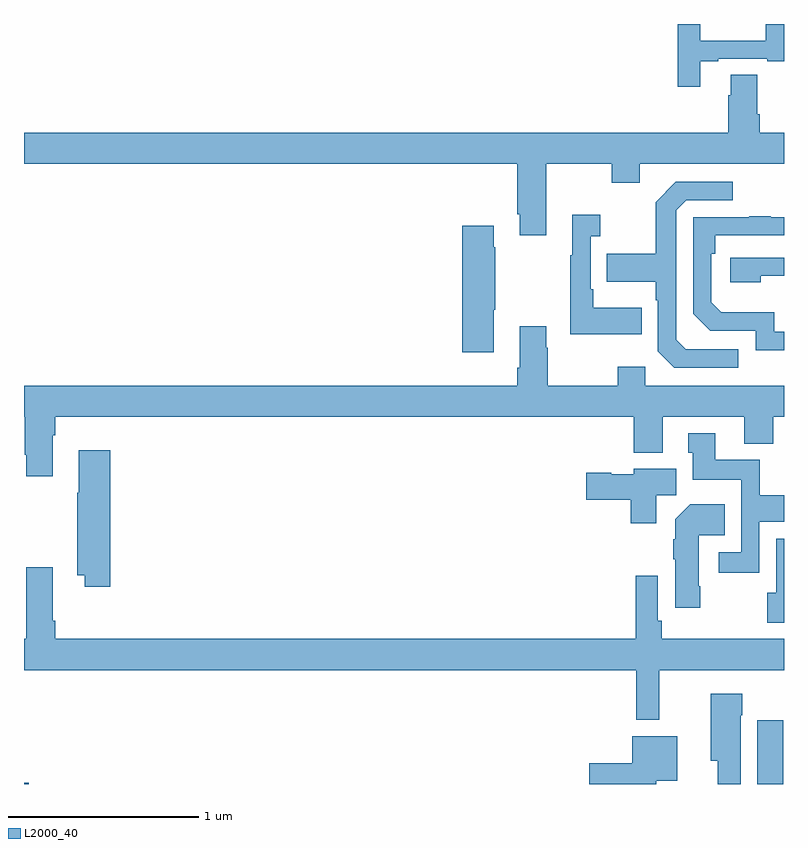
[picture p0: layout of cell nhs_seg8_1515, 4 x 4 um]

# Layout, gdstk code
import gdstk
lib = gdstk.Library(unit=1e-6, precision=1e-09)
def R(c, l, rs):  # rectangles x0, y0, x1, y1
    for r in rs: c.add(gdstk.rectangle(r[:2], r[2:], *l))
def P(c, l, *ps):  # polygons
    for p in ps: c.add(gdstk.Polygon(p, *l))
L2000_40 = (2000, 40)

nhs_seg8_1515 = lib.new_cell('nhs_seg8_1515')
R(nhs_seg8_1515, L2000_40, [(207,1115.9,207.025,1115.906), (210.86,1115.9,210.997,1116.235)])
P(nhs_seg8_1515, L2000_40, [(210.559,1119.705),(210.655,1119.705),(210.655,1119.717),(210.911,1119.717),(210.911,1119.705),(211,1119.705),(211,1119.9),(210.905,1119.9),(210.905,1119.813),(210.558,1119.813),(210.558,1119.9),(210.442,1119.9),(210.442,1119.57),(210.559,1119.57)],
  [(209.749,1119.164),(210.094,1119.164),(210.094,1119.065),(210.241,1119.065),(210.241,1119.164),(211,1119.164),(211,1119.328),(210.872,1119.328),(210.872,1119.424),(210.859,1119.424),(210.859,1119.632),(210.719,1119.632),(210.719,1119.524),(210.707,1119.524),(210.707,1119.328),(207,1119.328),(207,1119.164),(209.597,1119.164),(209.597,1118.899),(209.609,1118.899),(209.609,1118.787),(209.749,1118.787)],
  [(210.76,1118.187),(210.483,1118.187),(210.432,1118.238),(210.432,1118.919),(210.486,1118.973),(210.73,1118.973),(210.73,1119.069),(210.429,1119.069),(210.324,1118.963),(210.324,1118.691),(210.067,1118.691),(210.067,1118.543),(210.324,1118.543),(210.324,1118.447),(210.336,1118.447),(210.336,1118.178),(210.423,1118.091),(210.76,1118.091)],
  [(210.251,1118.407),(209.995,1118.407),(209.995,1118.503),(209.982,1118.503),(209.982,1118.783),(210.034,1118.783),(210.034,1118.896),(209.885,1118.896),(209.885,1118.683),(209.874,1118.683),(209.874,1118.267),(210.251,1118.267)],
  [(211,1118.28),(210.948,1118.28),(210.948,1118.383),(210.671,1118.383),(210.618,1118.436),(210.618,1118.69),(210.638,1118.69),(210.638,1118.787),(211,1118.787),(211,1118.883),(210.929,1118.883),(210.929,1118.888),(210.817,1118.888),(210.817,1118.883),(210.522,1118.883),(210.522,1118.376),(210.612,1118.286),(210.852,1118.286),(210.852,1118.184),(211,1118.184)],
  [(209.473,1118.395),(209.481,1118.395),(209.481,1118.726),(209.473,1118.726),(209.473,1118.839),(209.306,1118.839),(209.306,1118.172),(209.473,1118.172)],
  [(210.878,1118.574),(211,1118.574),(211,1118.67),(210.717,1118.67),(210.717,1118.54),(210.878,1118.54)],
  [(207.151,1117.736),(207.164,1117.736),(207.164,1117.832),(210.209,1117.832),(210.209,1117.643),(210.361,1117.643),(210.361,1117.832),(210.791,1117.832),(210.791,1117.691),(210.944,1117.691),(210.944,1117.832),(211,1117.832),(211,1117.996),(210.27,1117.996),(210.27,1118.095),(210.124,1118.095),(210.124,1117.996),(209.757,1117.996),(209.757,1118.195),(209.749,1118.195),(209.749,1118.308),(209.609,1118.308),(209.609,1118.092),(209.597,1118.092),(209.597,1117.996),(207,1117.996),(207,1117.832),(207.004,1117.832),(207.004,1117.633),(207.011,1117.633),(207.011,1117.521),(207.151,1117.521)],
  [(210.87,1117.28),(211,1117.28),(211,1117.42),(210.873,1117.42),(210.873,1117.606),(210.637,1117.606),(210.637,1117.747),(210.497,1117.747),(210.497,1117.644),(210.521,1117.644),(210.521,1117.502),(210.774,1117.502),(210.774,1117.119),(210.657,1117.119),(210.657,1117.011),(210.87,1117.011)],
  [(207.455,1117.657),(207.287,1117.657),(207.287,1117.433),(207.28,1117.433),(207.28,1116.998),(207.32,1116.998),(207.32,1116.939),(207.455,1116.939)],
  [(210.328,1117.42),(210.433,1117.42),(210.433,1117.558),(210.21,1117.558),(210.21,1117.531),(210.09,1117.531),(210.09,1117.539),(209.958,1117.539),(209.958,1117.397),(210.194,1117.397),(210.194,1117.272),(210.328,1117.272)],
  [(210.558,1116.94),(210.55,1116.94),(210.55,1117.208),(210.689,1117.208),(210.689,1117.372),(210.506,1117.372),(210.428,1117.294),(210.428,1117.187),(210.416,1117.187),(210.416,1117.084),(210.428,1117.084),(210.428,1116.828),(210.558,1116.828)],
  [(211,1117.192),(210.959,1117.192),(210.959,1116.906),(210.913,1116.906),(210.913,1116.75),(211,1116.75)],
  [(210.344,1116.5),(211,1116.5),(211,1116.664),(210.356,1116.664),(210.356,1116.76),(210.336,1116.76),(210.336,1116.997),(210.22,1116.997),(210.22,1116.664),(207.164,1116.664),(207.164,1116.76),(207.151,1116.76),(207.151,1117.042),(207.011,1117.042),(207.011,1116.664),(207,1116.664),(207,1116.5),(210.223,1116.5),(210.223,1116.237),(210.344,1116.237)],
  [(210.772,1116.263),(210.78,1116.263),(210.78,1116.376),(210.614,1116.376),(210.614,1116.023),(210.65,1116.023),(210.65,1115.9),(210.772,1115.9)],
  [(210.328,1115.918),(210.439,1115.918),(210.439,1116.151),(210.2,1116.151),(210.2,1116.008),(209.976,1116.008),(209.976,1115.9),(210.328,1115.9)])

lib.write_gds('nhs_seg8_1515.gds')
